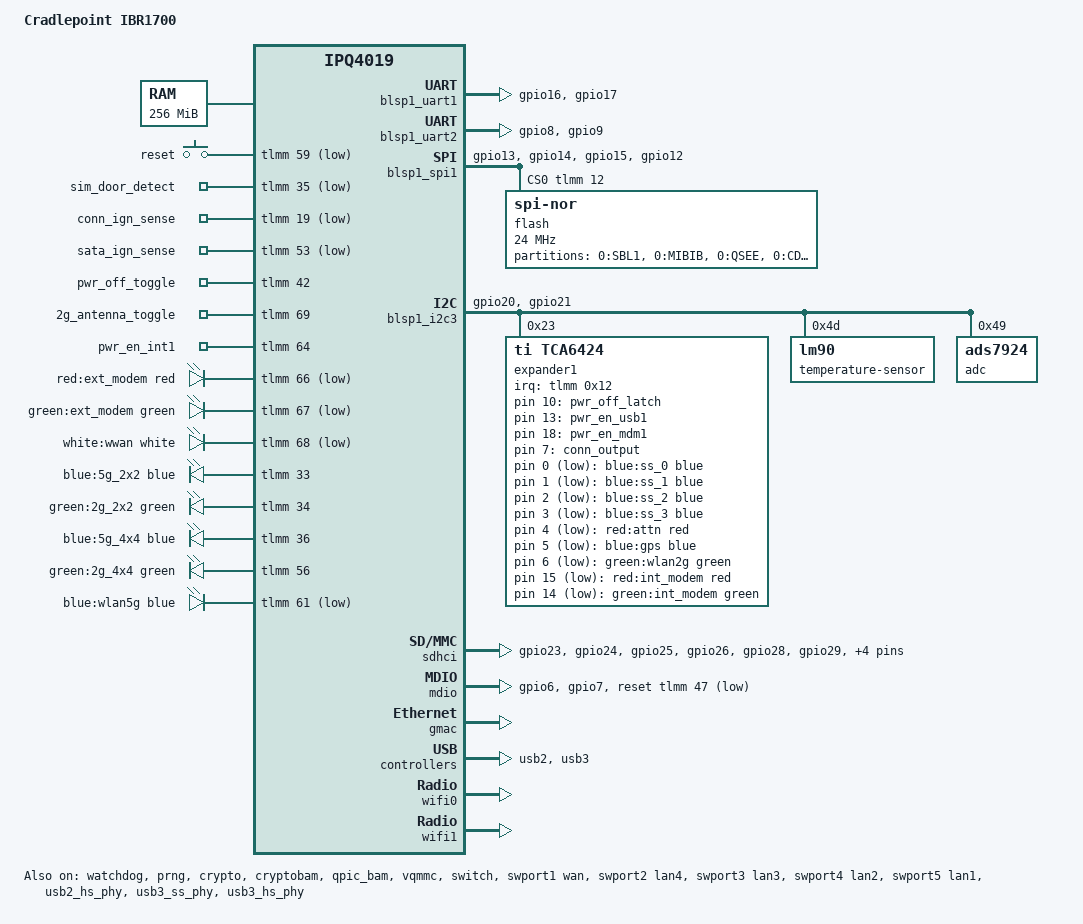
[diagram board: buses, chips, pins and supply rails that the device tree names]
// SPDX-License-Identifier: GPL-2.0-or-later
/* Copyright (c) 2025, Natalie Moore <natalie@natalielucy.dev> */

#include "qcom-ipq4019.dtsi"
#include <dt-bindings/gpio/gpio.h>
#include <dt-bindings/thermal/thermal.h>
#include <dt-bindings/input/input.h>
#include <dt-bindings/leds/common.h>
#include <dt-bindings/soc/qcom,tcsr.h>

/ {
    model = "Cradlepoint IBR1700";
    compatible = "cradlepoint,ibr1700";

    aliases {
		// TODO: Verify if the ethernet0 alias is needed
		ethernet0 = &gmac;
	};

    memory {
        device_type = "memory";
        reg = <0x80000000 0x10000000>;
    };

    soc {
		ess_tcsr@1953000 {
			compatible = "qcom,tcsr";
			reg = <0x1953000 0x1000>;
			qcom,ess-interface-select = <TCSR_ESS_PSGMII>;
		};

		tcsr@1949000 {
			compatible = "qcom,tcsr";
			reg = <0x1949000 0x100>;
			qcom,wifi_glb_cfg = <TCSR_WIFI_GLB_CFG>;
		};

		tcsr@1957000 {
			compatible = "qcom,tcsr";
			reg = <0x1957000 0x100>;
			qcom,wifi_noc_memtype_m0_m2 = <TCSR_WIFI_NOC_MEMTYPE_M0_M2>;
		};
	};

    keys {
        compatible = "gpio-keys";

        reset {
            label = "reset";
            gpios = <&tlmm 59 GPIO_ACTIVE_LOW>;
            //linux,code = <KEY_RESTART>;
        };
    };

    gpio_export {
			compatible = "gpio-export";

			sim_door_detect {
				gpio-export,name = "sim_door_detect";
				gpio-export,input = <0>;
				gpio-export,direction_may_change = <0>;
				gpios = <&tlmm 35 GPIO_ACTIVE_LOW>;
			};

            conn_ign_sense {
				gpio-export,name = "conn_ign_sense";
				gpio-export,input = <0>;
				gpio-export,direction_may_change = <0>;
				gpios = <&tlmm 19 GPIO_ACTIVE_LOW>;
			};

            sata_ign_sense {
				gpio-export,name = "sata_ign_sense";
				gpio-export,input = <0>;
				gpio-export,direction_may_change = <0>;
				gpios = <&tlmm 53 GPIO_ACTIVE_LOW>;
			};

            pwr_off_toggle {
                gpio-export,name = "pwr_off_toggle";
                gpio-export,output = <0>;
                gpio-export,direction_may_change = <0>;
                gpios = <&tlmm 42 GPIO_ACTIVE_HIGH>;
            };

            2g_antenna_toggle {
                gpio-export,name = "2g_antenna_toggle";
                gpio-export,output = <0>;
                gpio-export,direction_may_change = <0>;
                gpios = <&tlmm 69 GPIO_ACTIVE_HIGH>;
            };

            pwr_en_int1 {
                gpio-export,name = "pwr_en_int1";
                gpio-export,output = <1>;
                gpio-export,direction_may_change = <0>;
                gpios = <&tlmm 64 GPIO_ACTIVE_HIGH>;
            };

            pwr_off_latch {
                gpio-export,name = "pwr_off_latch";
                gpio-export,output = <0>;
                gpio-export,direction_may_change = <0>;
                gpios = <&expander1 10 GPIO_ACTIVE_HIGH>;
            };

            pwr_en_usb1 {
                gpio-export,name = "pwr_en_usb1";
                gpio-export,output = <1>;
                gpio-export,direction_may_change = <0>;
                gpios = <&expander1 13 GPIO_ACTIVE_HIGH>;
            };

            pwr_en_mdm1 {
                gpio-export,name = "pwr_en_mdm1";
                gpio-export,output = <1>;
                gpio-export,direction_may_change = <0>;
                gpios = <&expander1 18 GPIO_ACTIVE_HIGH>;
            };

            conn_output {
                gpio-export,name = "conn_output";
                gpio-export,output = <0>;
                gpio-export,direction_may_change = <0>;
                gpios = <&expander1 7 GPIO_ACTIVE_HIGH>;
            };
		};

    leds {
        compatible = "gpio-leds";

        led_ext_modem_red: led-0 {
            function = LED_FUNCTION_STATUS;
            color = <LED_COLOR_ID_RED>;
            gpios = <&tlmm 66 GPIO_ACTIVE_LOW>;
            label = "red:ext_modem";
        };

        led_ext_modem_green: led-1 {
            function = LED_FUNCTION_STATUS;
            color = <LED_COLOR_ID_GREEN>;
            gpios = <&tlmm 67 GPIO_ACTIVE_LOW>;
            label = "green:ext_modem";
        };

        led_wwan_white: led-2 {
            function = LED_FUNCTION_STATUS;
            color = <LED_COLOR_ID_WHITE>;
            gpios = <&tlmm 68 GPIO_ACTIVE_LOW>;
            label = "white:wwan";
        };

        led_5g_right_blue: led-3 {
            function = LED_FUNCTION_STATUS;
            color = <LED_COLOR_ID_BLUE>;
            gpios = <&tlmm 33 GPIO_ACTIVE_HIGH>;
            label = "blue:5g_2x2";
        };

        led_2g_right_green: led-4 {
            function = LED_FUNCTION_STATUS;
            color = <LED_COLOR_ID_GREEN>;
            gpios = <&tlmm 34 GPIO_ACTIVE_HIGH>;
            label = "green:2g_2x2";
        };

        led_5g_left_blue: led-5 {
            function = LED_FUNCTION_STATUS;
            color = <LED_COLOR_ID_BLUE>;
            gpios = <&tlmm 36 GPIO_ACTIVE_HIGH>;
            label = "blue:5g_4x4";
        };

        led_2g_left_green: led-6 {
            function = LED_FUNCTION_STATUS;
            color = <LED_COLOR_ID_GREEN>;
            gpios = <&tlmm 56 GPIO_ACTIVE_HIGH>;
            label = "green:2g_4x4";
        };

        led_ss_0_blue: led-7 {
            function = LED_FUNCTION_STATUS;
            color = <LED_COLOR_ID_BLUE>;
            gpios = <&expander1 0 GPIO_ACTIVE_LOW>;
            label = "blue:ss_0";
        };

        led_ss_1_blue: led-8 {
            function = LED_FUNCTION_STATUS;
            color = <LED_COLOR_ID_BLUE>;
            gpios = <&expander1 1 GPIO_ACTIVE_LOW>;
            label = "blue:ss_1";
        };

        led_ss_2_blue: led-9 {
            function = LED_FUNCTION_STATUS;
            color = <LED_COLOR_ID_BLUE>;
            gpios = <&expander1 2 GPIO_ACTIVE_LOW>;
            label = "blue:ss_2";
        };

        led_ss_3_blue: led-10 {
            function = LED_FUNCTION_STATUS;
            color = <LED_COLOR_ID_BLUE>;
            gpios = <&expander1 3 GPIO_ACTIVE_LOW>;
            label = "blue:ss_3";
        };

        led_attn_red: led-11 {
            function = LED_FUNCTION_STATUS;
            color = <LED_COLOR_ID_RED>;
            gpios = <&expander1 4 GPIO_ACTIVE_LOW>;
            label = "red:attn";
        };

        led_gps_blue: led-12 {
            function = LED_FUNCTION_STATUS;
            color = <LED_COLOR_ID_BLUE>;
            gpios = <&expander1 5 GPIO_ACTIVE_LOW>;
            label = "blue:gps";
        };

        led_2g_green: led-13 {
            function = LED_FUNCTION_STATUS;
            color = <LED_COLOR_ID_GREEN>;
            gpios = <&expander1 6 GPIO_ACTIVE_LOW>;
            label = "green:wlan2g";
        };

        led_5g_blue: led-14 {
            function = LED_FUNCTION_STATUS;
            color = <LED_COLOR_ID_BLUE>;
            gpios = <&tlmm 61 GPIO_ACTIVE_LOW>;
            label = "blue:wlan5g";
        };

        led_int_modem_red: led-15 {
            function = LED_FUNCTION_STATUS;
            color = <LED_COLOR_ID_RED>;
            gpios = <&expander1 15 GPIO_ACTIVE_LOW>;
            label = "red:int_modem";
        };

        led_int_modem_green: led-16 {
            function = LED_FUNCTION_STATUS;
            color = <LED_COLOR_ID_GREEN>;
            gpios = <&expander1 14 GPIO_ACTIVE_LOW>;
            label = "green:int_modem";
        };
    };
};

&watchdog {
	status = "okay";
};

&prng {
	status = "okay";
};

&crypto {
	status = "okay";
};

&blsp_dma {
	status = "okay";
};

&blsp1_uart1 {
        status = "okay";
        pinctrl-0 = <&serial_0_pins>;
        pinctrl-names = "default";
};

&blsp1_uart2 {
        status = "okay";
        pinctrl-0 = <&serial_1_pins>;
        pinctrl-names = "default";
};

&blsp1_spi1 {
    status = "okay";

	pinctrl-0 = <&spi_0_pins>;
	pinctrl-names = "default";
    cs-gpios = <&tlmm 12 GPIO_ACTIVE_HIGH>;

    flash@0 {
		compatible = "jedec,spi-nor";
		spi-max-frequency = <24000000>;
		reg = <0>;

        #address-cells = <1>;
        #size-cells = <1>;

		partitions {
			compatible = "fixed-partitions";
			#address-cells = <1>;
			#size-cells = <1>;

			partition0@0 {
				label = "0:SBL1";
				reg = <0x00000000 0x00040000>;
				read-only;
			};

			partition1@40000 {
				label = "0:MIBIB";
				reg = <0x00040000 0x00020000>;
				read-only;
			};

			partition2@60000 {
				label = "0:QSEE";
				reg = <0x00060000 0x00060000>;
				read-only;
			};

			partition3@c0000 {
				label = "0:CDT";
				reg = <0x000c0000 0x00010000>;
				read-only;
			};

			partition4@d0000 {
				label = "0:DDRPARAMS";
				reg = <0x000d0000 0x00010000>;
				read-only;
			};

			partition5@e0000 {
				label = "0:APPSBLENV"; /* uboot env */
				reg = <0x000e0000 0x00010000>;
				read-only;
			};

			partition6@f0000 {
				label = "0:APPSBL"; /* uboot */
				reg = <0x000f0000 0x00080000>;
				read-only;
			};

			partition7@170000 {
				label = "0:ART";
				reg = <0x00170000 0x00010000>;
				read-only;

				nvmem-layout {
					compatible = "fixed-layout";
					#address-cells = <1>;
					#size-cells = <1>;

					macaddr_art_0: mac-address@0 {
						reg = <0x0 0x6>;
					};

					macaddr_art_6: mac-address@6 {
						reg = <0x6 0x6>;
					};

					precal_art_1000: precal@1000 {
						reg = <0x1000 0x2f20>;
					};

					precal_art_5000: precal@5000 {
						reg = <0x5000 0x2f20>;
					};

                    precal_art_9000: precal@9000 {
						reg = <0x9000 0x2f20>;
					};
				};
			};

			partition8@180000 {
				label = "0:CUSTDATA";
				reg = <0x00180000 0x00010000>;
				read-only;
			};
		};
	};
};

&blsp1_i2c3 {
	pinctrl-0 = <&i2c_0_pins>;
	pinctrl-names = "default";
	status = "okay";

    expander1: gpio@35 {
        compatible = "ti,tca6424";
        gpio-controller;
        #gpio-cells = <2>;
        interrupts = <0x12>;
        interrupt-parent = <&tlmm>;
        reg = <0x23>;
    };

    // GMT G781
    temperature-sensor@77 {
        compatible = "lm90";
        reg = <0x4d>;
        vcc-supply = <0x0f>;
        status = "ok";
    };

    adc@49 {
        compatible = "ads7924";
        reg = <0x49>;
        status = "ok";
    };
};


&cryptobam {
	status = "okay";
};

&qpic_bam {
	status = "okay";
};

&tlmm {
	mdio_pins: mdio_pinmux {
		mux_1 {
			pins = "gpio6";
			function = "mdio";
			bias-pull-up;
		};
		mux_2 {
			pins = "gpio7";
			function = "mdc";
			bias-pull-up;
		};
	};

	spi_0_pins: spi_0_pinmux {
		pin {
			function = "blsp_spi0";
			pins = "gpio13", "gpio14", "gpio15";
			drive-strength = <12>;
			bias-disable;
		};
		pin_cs {
			function = "gpio";
			pins = "gpio12";
			drive-strength = <2>;
			bias-disable;
			output-high;
		};
	};

	i2c_0_pins: i2c_0_pinmux {
		mux {
			pins = "gpio20", "gpio21";
			function = "blsp_i2c0";
			//drive-strength = <4>;
			drive-open-drain;
		};
	};


	serial_0_pins: serial_0_pinmux {
		mux {
			pins = "gpio16", "gpio17";
			function = "blsp_uart0";
			bias-disable;
		};
	};

	serial_1_pins: serial_1_pinmux {
		mux {
			pins = "gpio8", "gpio9";
			function = "blsp_uart1";
			bias-disable;
		};
	};

    sd_pins: sd_pins {
		pinmux {
			function = "sdio";
			pins = "gpio23", "gpio24", "gpio25", "gpio26",
				"gpio28", "gpio29", "gpio30", "gpio31";
			drive-strength = <10>;
		};
		pinmux_sd_clk {
			function = "sdio";
			pins = "gpio27";
			drive-strength = <16>;
		};
		pinmux_sd7 {
			function = "sdio";
			pins = "gpio32";
			drive-strength = <10>;
			bias-disable;
		};
	};
};

&vqmmc {
	status = "okay";
};

&sdhci {
	status = "okay";

	pinctrl-0 = <&sd_pins>;
	pinctrl-names = "default";
	vqmmc-supply = <&vqmmc>;
};

&mdio {
	status = "okay";
	pinctrl-0 = <&mdio_pins>;
	pinctrl-names = "default";
    reset-gpios = <&tlmm 47 GPIO_ACTIVE_LOW>;
	reset-delay-us = <2000>;
    
};

&ethphy0 {
    reg = <0x08>;
};

&ethphy1 {
    reg = <0x09>;
};

&ethphy2 {
    reg = <0x0a>;
};

&ethphy3 {
    reg = <0x0b>;
};

&ethphy4 {
    reg = <0x0c>;
};

&psgmiiphy {
    reg = <0x0d>;
};

&gmac {
	status = "okay";
};

&switch {
	status = "okay";
    //switch_cpu_bmp = <0x01>;
    //switch_lan_bmp = <0x1e>;
    //switch_wan_bmp = <0x20>;
    //switch_mac_mode = <0x00>;
};

&swport1 {
    status = "okay";
    label = "wan";
};

&swport2 {
	status = "okay";
	label = "lan4";
};

&swport3 {
	status = "okay";
	label = "lan3";
};

&swport4 {
	status = "okay";
	label = "lan2";
};

&swport5 {
	status = "okay";
	label = "lan1";
};

&usb2 {
	status = "okay";
};

&usb2_hs_phy {
	status = "okay";
};

&usb3 {
	status = "okay";
};

&usb3_ss_phy {
	status = "okay";
};

&usb3_hs_phy {
	status = "okay";
};

&wifi0 {
	status = "okay";
	nvmem-cell-names = "pre-calibration";
	nvmem-cells = <&precal_art_1000>;
};

&wifi1 {
	status = "okay";
	//qcom,ath10k-calibration-variant = "ALFA-Network-AP120C-AC";
	nvmem-cell-names = "pre-calibration";
	nvmem-cells = <&precal_art_5000>;
};
